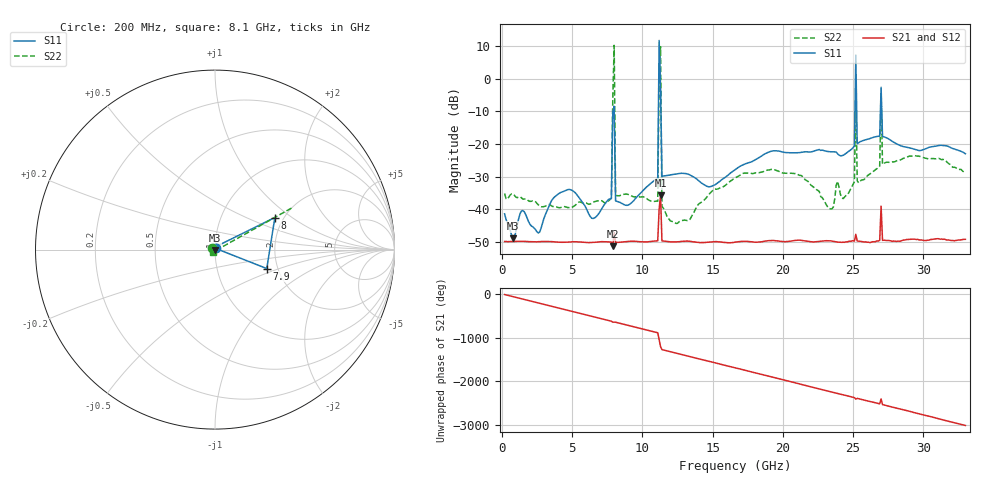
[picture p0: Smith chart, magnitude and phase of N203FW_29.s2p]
# GHZ S RI R 50
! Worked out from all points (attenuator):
!   329 points, 200 MHz to 33 GHz, reference 50 ohm
!   highest |S21| = -35.79 dB at 11.3 GHz (marker M1); lowest = -51.4 dB at 7.9 GHz (marker M2)
!   lowest |S11| = -49.0 dB at 800 MHz (marker M3), VSWR 1.01, Z = 50 - j0.351 ohm
!   |S11| at or under -10 dB: start of sweep to 7.914 GHz; 11.33 GHz to 25.14 GHz (13.81 GHz wide, 75.7 % of centre); 27.05 GHz to end of sweep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
!   |S22| runs from -44.4 to 10.3 dB; largest |S21 - S12| = 0.02
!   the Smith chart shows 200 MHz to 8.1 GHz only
!   S11 on the Smith chart (normalised r, x): 200 MHz: 1.01, +0.01; 7.9 GHz: 1.75, -0.41; 8 GHz: 1.80, +0.75; 8.1 GHz: 1.00, +0.03
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0.2  0.00564 0.00628  0.00305 -0.000894  0.00306 -0.000887  -0.0143 0.00993
0.8  -0.000466 -0.00351  0.00139 -0.00287  0.00138 -0.00287  -0.0133 0.0106
5.7  0.00608 0.0115  -0.000449 -0.00308  -0.000466 -0.00308  0.00632 -0.0108
7.8  -0.00899 0.0113  -0.000207 0.0031  -0.000215 0.00311  -0.00828 -0.0123
7.9  0.2885 -0.1056  0.000835 0.00256  0.000821 0.00248  0.4296 0.2332
8  0.3335 0.1787  0.00125 0.0042  0.000709 0.00606  2.813 1.668
8.1  -0.00203 0.0132  0.00104 0.0029  0.00105 0.0029  -0.0116 -0.0113
11.1  0.00406 0.0295  -0.00322 -0.00053  -0.00321 -0.000527  -0.0116 0.00642
11.2  2.686 2.798  0.00906 0.00427  0.0168 0.023  -0.7126 -0.8876
11.3  0.674 0.3196  -0.00965 -0.0131  -0.0103 -0.0103  0.2871 3.093
11.4  0.0204 0.0241  -0.00312 0.000887  -0.00312 0.000894  -0.00855 0.00694
16.6  -0.0332 0.0224  -0.00105 0.00293  -0.00105 0.00293  -0.0296 0.00515
22.1  -0.0303 -0.0699  0.00285 0.00134  0.00285 0.00134  0.0196 0.0111
23.5  0.00742 0.0753  0.000109 -0.00322  9.7e-05 -0.00324  0.00948 -0.00331
25.1  -0.0409 -0.0831  -0.00266 0.00183  -0.00269 0.00184  -0.0249 -0.00892
25.2  2.212 0.6658  -0.00143 0.00384  -0.00123 0.00385  0.2977 0.5187
25.3  -0.0759 -0.0664  -0.00205 0.00251  -0.00203 0.0025  -0.0269 -0.00329
26.9  0.0619 0.1161  0.0033 0.000208  0.00325 0.000177  -0.0409 0.0204
27  0.4806 -0.5622  -0.00491 0.00994  -0.000868 0.000965  -0.239 0.5435
27.1  0.0991 0.0846  0.00322 -0.00076  0.00321 -0.000781  -0.041 0.0266
27.6  0.1139 -0.0276  0.00184 -0.00272  0.00188 -0.00269  -0.0361 0.0379
33  0.0181 0.0682  -0.00225 -0.0026  -0.00225 -0.00257  0.0343 0.0116
